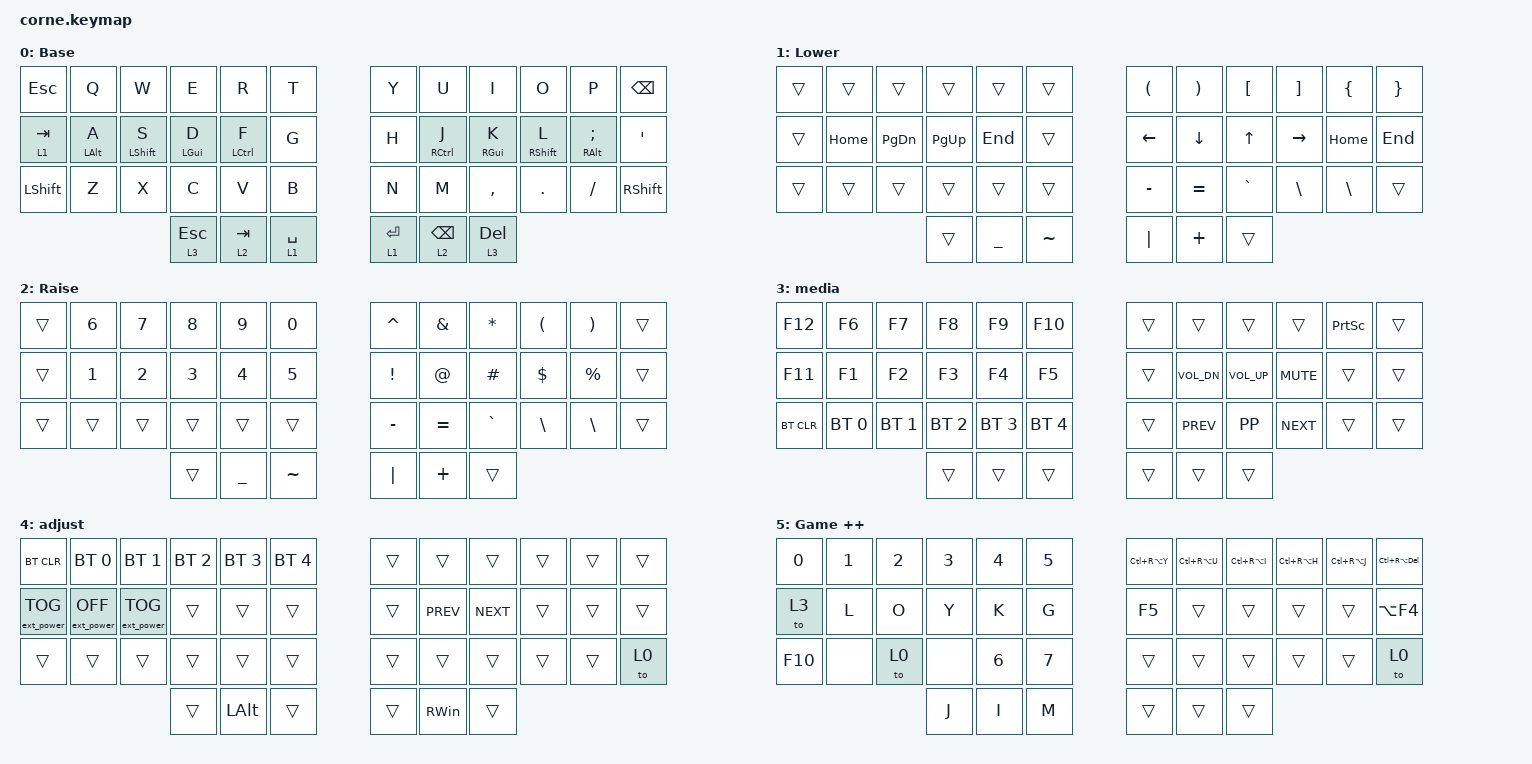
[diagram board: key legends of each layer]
/*
 * Copyright (c) 2020 The ZMK Contributors
 *
 * SPDX-License-Identifier: MIT
 */

#include <behaviors.dtsi>
#include <dt-bindings/zmk/bt.h>
#include <dt-bindings/zmk/ext_power.h>
#include <dt-bindings/zmk/keys.h>

#define BASE 0
#define LOWER 1
#define RAISE 2
#define MEDIA 3
#define ADJUST 4

/ {
    behaviors {
        hml: home_row_mod_left {
            compatible = "zmk,behavior-hold-tap";
            #binding-cells = <2>;
            flavor = "balanced";
            require-prior-idle-ms = <200>;
            tapping-term-ms = <175>;
            quick-tap-ms = <175>;
            bindings = <&kp>, <&kp>;
            hold-trigger-key-positions = <6 7 8 9 10 18 19 20 21 22 30 31 32 33 34 44 45 46 47 52 53>; // right hand
            hold-trigger-on-release;
        };
        hmr: home_row_mod_right {
            compatible = "zmk,behavior-hold-tap";
            #binding-cells = <2>;
            flavor = "balanced";
            require-prior-idle-ms = <200>;
            tapping-term-ms = <280>;
            quick-tap-ms = <175>;
            bindings = <&kp>, <&kp>;
            hold-trigger-key-positions = <0 1 2 3 4 12 13 14 15 16 24 25 26 27 28 37 38 39 40 48 49>; // left hand
            hold-trigger-on-release;
        };
    };

    conditional_layers {
        compatible = "zmk,conditional-layers";

        adjust_layer {
            if-layers = <MEDIA RAISE>;
            then-layer = <ADJUST>;
        };
    };

    key-positions {
        compatible = "zmk,key-positions";
        positions = <
             0  1  2  3  4  5     6  7  8  9 10 11
            12 13 14 15 16 17    18 19 20 21 22 23
            24 25 26 27 28 29    30 31 32 33 34 35
                      36 37 38  39 40 41
        >;
    };

    keymap {
        compatible = "zmk,keymap";

        Base {
            // -----------------------------------------------------------------------------------------
            // |  TAB |  Q  |  W  |  E  |  R  |  T  |   |  Y  |  U   |  I  |  O  |  P  | BKSP |
            // | CTRL |  A  |  S  |  D  |  F  |  G  |   |  H  |  J   |  K  |  L  |  ;  |  '   |
            // | SHFT |  Z  |  X  |  C  |  V  |  B  |   |  N  |  M   |  ,  |  .  |  /  | ESC  |
            //                    | GUI | LWR | SPC |   | ENT | RSE  | ALT |

            label = "Base";
            bindings = <
&kp ESC     &kp Q        &kp W         &kp E        &kp R         &kp T                                  &kp Y       &kp U         &kp I        &kp O         &kp P           &kp BSPC
&lt 1 TAB   &hml LALT A  &hml LSHFT S  &hml LGUI D  &hml LCTRL F  &kp G                                  &kp H       &hmr RCTRL J  &hmr RGUI K  &hmr RSHFT L  &hmr RALT SEMI  &kp SQT
&kp LSHFT   &kp Z        &kp X         &kp C        &kp V         &kp B                                  &kp N       &kp M         &kp COMMA    &kp DOT       &kp FSLH        &kp RSHFT
                                                    &lt 3 ESC     &lt 2 TAB  &lt 1 SPACE    &lt 1 ENTER  &lt 2 BSPC  &lt 3 DEL                           
            >;
        };

        Lower {
            // -----------------------------------------------------------------------------------------
            // |  TAB |  1  |  2  |  3  |  4  |  5  |   |  6  |  7  |  8  |  9  |  0  | BKSP |
            // | BTCLR| BT1 | BT2 | BT3 | BT4 | BT5 |   | LFT | DWN |  UP | RGT |     |      |
            // | SHFT |     |     |     |     |     |   |     |     |     |     |     |      |
            //                    | GUI |     | SPC |   | ENT |     | ALT |

            label = "Lower";
            bindings = <
&trans      &trans       &trans       &trans        &trans        &trans                                 &kp LPAR    &kp RPAR      &kp LBKT     &kp RBKT      &kp LBRC        &kp RBRC
&trans      &kp HOME     &kp PG_DN    &kp PG_UP     &kp END       &trans                                 &kp LEFT    &kp DOWN      &kp UP       &kp RIGHT     &kp HOME        &kp END
&trans      &trans       &trans       &trans        &trans        &trans                                 &kp MINUS   &kp EQUAL     &kp GRAVE    &kp BSLH      &kp BSLH        &trans
                                                    &trans        &kp UNDER  &kp TILDE         &kp PIPE  &kp PLUS    &trans                              
            >;
        };

        Raise {
            // -----------------------------------------------------------------------------------------
            // |  TAB |  !  |  @  |  #  |  $  |  %  |   |  ^  |  &  |  *  |  (  |  )  | BKSP |
            // | CTRL |     |     |     |     |     |   |  -  |  =  |  [  |  ]  |  \  |  `   |
            // | SHFT |     |     |     |     |     |   |  _  |  +  |  {  |  }  | "|" |  ~   |
            //                    | GUI |     | SPC |   | ENT |     | ALT |

            label = "Raise";
            bindings = <
&trans      &kp N6       &kp N7       &kp N8        &kp N9        &kp N0                                 &kp CARET   &kp AMPS     &kp ASTRK     &kp LPAR      &kp RPAR        &trans
&trans      &kp N1       &kp N2       &kp N3        &kp N4        &kp N5                                 &kp EXCL    &kp AT       &kp HASH      &kp DOLLAR    &kp PRCNT       &trans
&trans      &trans       &trans       &trans        &trans        &trans                                 &kp MINUS   &kp EQUAL    &kp GRAVE     &kp BSLH      &kp BSLH        &trans
                                                    &trans        &kp UNDER  &kp TILDE         &kp PIPE  &kp PLUS    &trans     
            >;
        };

        media {
            label = "media";
            bindings = <
&kp F12     &kp F6          &kp F7        &kp F8        &kp F9        &kp F10                       &trans  &trans        &trans        &trans      &kp PSCRN  &trans
&kp F11     &kp F1          &kp F2        &kp F3        &kp F4        &kp F5                        &trans  &kp K_VOL_DN  &kp K_VOL_UP  &kp K_MUTE  &trans    &trans
&bt BT_CLR  &bt BT_SEL 0    &bt BT_SEL 1  &bt BT_SEL 2  &bt BT_SEL 3  &bt BT_SEL 4                  &trans  &kp K_PREV    &kp K_PP      &kp K_NEXT  &trans    &trans
                                                        &trans        &trans  &trans        &trans  &trans  &trans
            >;
        };

        adjust {
            label = "adjust";
            bindings = <
&bt BT_CLR         &bt BT_SEL 0       &bt BT_SEL 1       &bt BT_SEL 2  &bt BT_SEL 3  &bt BT_SEL 4    &trans  &trans         &trans      &trans  &trans  &trans
&ext_power EP_TOG  &ext_power EP_OFF  &ext_power EP_TOG  &trans        &trans        &trans          &trans  &kp K_PREV     &kp K_NEXT  &trans  &trans  &trans
&trans             &trans             &trans             &trans        &trans        &trans          &trans  &trans         &trans      &trans  &trans  &to 0
                                                         &trans        &kp LEFT_ALT  &trans          &trans  &kp RIGHT_WIN  &trans
            >;
        };

        Game_++ {
            label = "Game ++";
            bindings = <
&kp N0   &kp NUMBER_1  &kp NUMBER_2  &kp NUMBER_3  &kp NUMBER_4  &kp NUMBER_5    &kp LC(RA(Y))  &kp LC(RA(U))  &kp LC(RA(I))  &kp LC(RA(H))  &kp LC(RA(J))  &kp LC(RA(DEL))
&to 3    &kp L         &kp O         &kp Y         &kp K         &kp G           &kp F5         &trans         &trans         &trans         &trans         &kp LA(F4)
&kp F10  &none         &to 0         &none         &kp NUMBER_6  &kp NUMBER_7    &trans         &trans         &trans         &trans         &trans         &to 0
                                     &kp J         &kp I         &kp M           &trans         &trans         &trans
            >;
        };
    };
};
